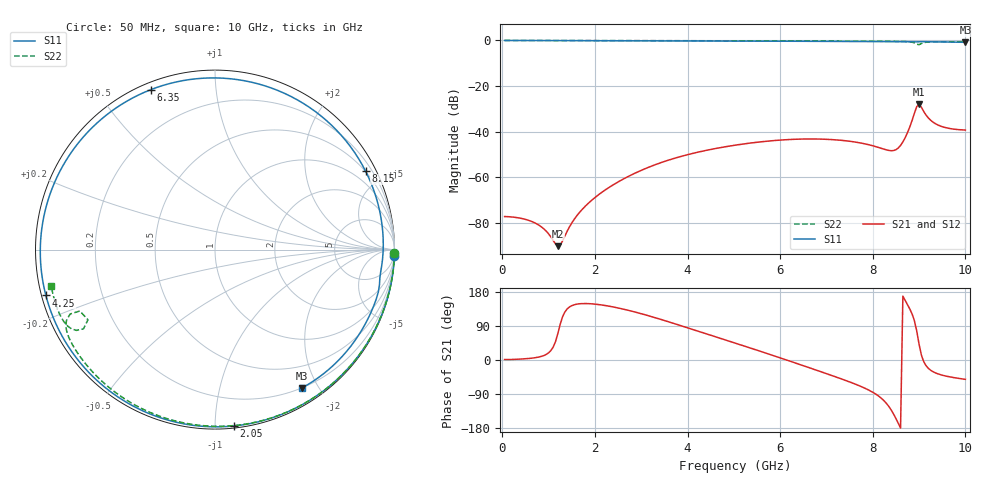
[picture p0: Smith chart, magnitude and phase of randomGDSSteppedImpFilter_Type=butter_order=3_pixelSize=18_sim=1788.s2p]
! freq	dB(S11)	phase(S11)	dB(S12)	phase(S12)
!  dB(S21)	phase(S21)	dB(S22)	phase(S22)
!S-par simulation data
#  GHz  S  DB  R 50
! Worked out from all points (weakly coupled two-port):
!   200 points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, 50 MHz to 10 GHz, reference 50 ohm
!   highest |S21| = -28.03 dB at 9 GHz (marker M1); lowest = -90.2 dB at 1.2 GHz (marker M2)
!   lowest |S11| = -0.8 dB at 10 GHz (marker M3), VSWR 21.30, Z = 9.98 - j89.7 ohm
!   |S11| at or under -10 dB: nowhere
!   |S22| runs from -1.8 to 0.0 dB; largest |S21 - S12| = 0
!   S11 on the Smith chart (normalised r, x): 50 MHz: 0, -54; 2.05 GHz: 0.01, -1.11; 4.25 GHz: 0.01, -0.13; 6.35 GHz: 0.03, +0.67; 8.15 GHz: 0.48, +4.03; 10 GHz: 0.20, -1.79
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0.05  -0.00 -2.1  -77.21 1.4  -77.21 1.4  -0.00 -1.0
0.6  -0.03 -25.5  -79.09 4.4  -79.09 4.4  -0.01 -11.6
1.2  -0.06 -50.2  -90.19 69.9  -90.19 69.9  -0.03 -23.1
1.5  -0.08 -62.3  -80.04 143.3  -80.04 143.3  -0.04 -28.7
1.75  -0.09 -72.2  -73.53 148.9  -73.53 148.9  -0.04 -33.4
2.05  -0.10 -83.8  -68.08 146.8  -68.08 146.8  -0.05 -39.0
2.7  -0.13 -108.4  -59.83 131.8  -59.83 131.8  -0.07 -50.8
3.4  -0.16 -134.0  -53.75 108.0  -53.75 108.0  -0.08 -63.3
4.25  -0.21 -164.8  -48.86 75.2  -48.86 75.2  -0.11 -77.9
5.05  -0.26 165.3  -45.84 43.8  -45.84 43.8  -0.14 -91.2
5.7  -0.31 139.5  -44.20 17.9  -44.20 17.9  -0.17 -101.6
6.35  -0.35 111.9  -43.30 -8.7  -43.30 -8.7  -0.21 -111.9
6.7  -0.38 96.3  -43.19 -23.3  -43.19 -23.3  -0.23 -117.4
7.4  -0.42 63.6  -43.95 -53.3  -43.95 -53.3  -0.28 -128.3
8.15  -0.48 27.5  -47.08 -97.5  -47.08 -97.5  -0.35 -140.2
8.35  -0.50 17.9  -48.23 -123.2  -48.23 -123.2  -0.38 -143.5
8.5  -0.52 10.8  -47.89 -154.5  -47.89 -154.5  -0.40 -146.2
8.65  -0.55 3.7  -44.49 168.5  -44.49 168.5  -0.45 -149.2
8.85  -0.60 -5.6  -35.00 121.2  -35.00 121.2  -0.76 -154.5
9  -0.57 -12.0  -28.03 41.3  -28.03 41.3  -1.84 -151.1
9.35  -0.60 -28.6  -36.46 -33.8  -36.46 -33.8  -0.58 -155.8
10  -0.82 -57.8  -39.28 -51.1  -39.28 -51.1  -0.59 -167.5
